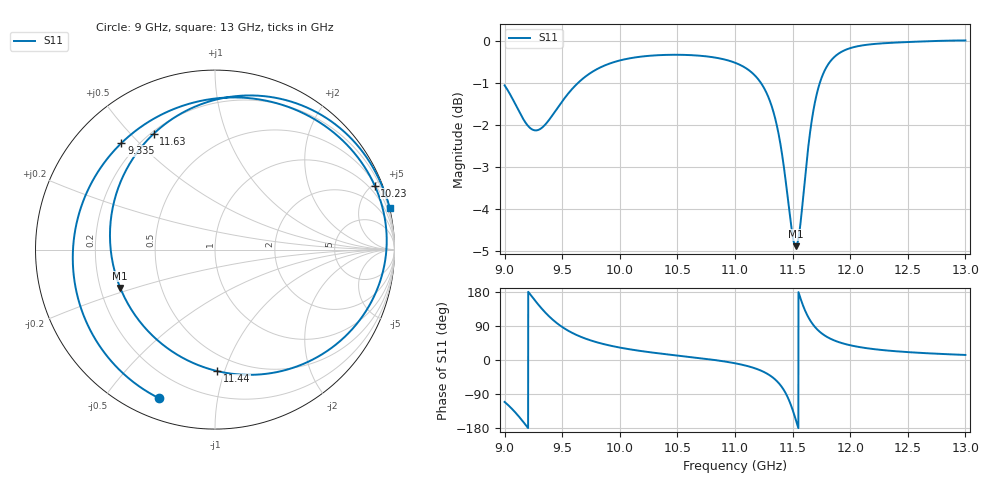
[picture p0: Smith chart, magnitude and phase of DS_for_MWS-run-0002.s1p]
! TOUCHSTONE file generated by CST DESIGN STUDIO
! Date and time: Tue Feb  4 13:42:53 2025
! Project name: C:\Work\MatlabApps\UnitCellOptimizationMatlab\CST\unitcell.cst
! Tree item: Tasks\Sweep1\SPara1\S-Parameters
! Header version: 2024
! Port assignment regex: !\s*Touchstone port\s*([0-9]+)\s*=\s*(CST MWS port|CST DES external port|CST DES block port)\s*(.+)\s* \(\"(.*)\"\)(\s*mode\s*([0-9]+))?.*
! Touchstone port assignment:
! Touchstone port 1 = CST DES external port 1 ("")
# GHz S MA R 50
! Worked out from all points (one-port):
!   4001 points, 9 GHz to 13 GHz, reference 50 ohm
!   lowest |S11| = -4.9 dB at 11.53 GHz (marker M1), VSWR 3.64, Z = 14.2 - j8.97 ohm
!   |S11| at or under -10 dB: nowhere
!   S11 on the Smith chart (normalised r, x): 9 GHz: 0.09, -0.69; 9.335 GHz: 0.14, +0.45; 10.23 GHz: 0.58, +5.12; 11.44 GHz: 0.38, -0.95; 11.63 GHz: 0.21, +0.58; 13 GHz: -0.02, +8.55
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9  0.8847 -110.7
9.083  0.8454 -135.1
9.179  0.7998 -169.9
9.251  0.7828 161.9
9.335  0.7901 131.3
9.412  0.814 107.9
9.5  0.8468 87.1
9.604  0.8814 69.0
9.717  0.9096 54.8
10  0.9472 32.8
10.228  0.9587 21.8
10.5  0.9621 11.8
11  0.9414 -8.6
11.166  0.911 -21.2
11.28  0.8629 -36.3
11.366  0.7895 -56.5
11.442  0.6773 -88.8
11.472  0.6252 -108.4
11.5  0.5854 -131.3
11.528  0.5694 -158.0
11.574  0.6159 157.7
11.628  0.7307 117.8
11.693  0.8434 87.5
11.787  0.9264 63.1
11.88  0.9609 49.5
12  0.9798 38.9
12.5  0.9963 20.8
13  1.001 13.3
